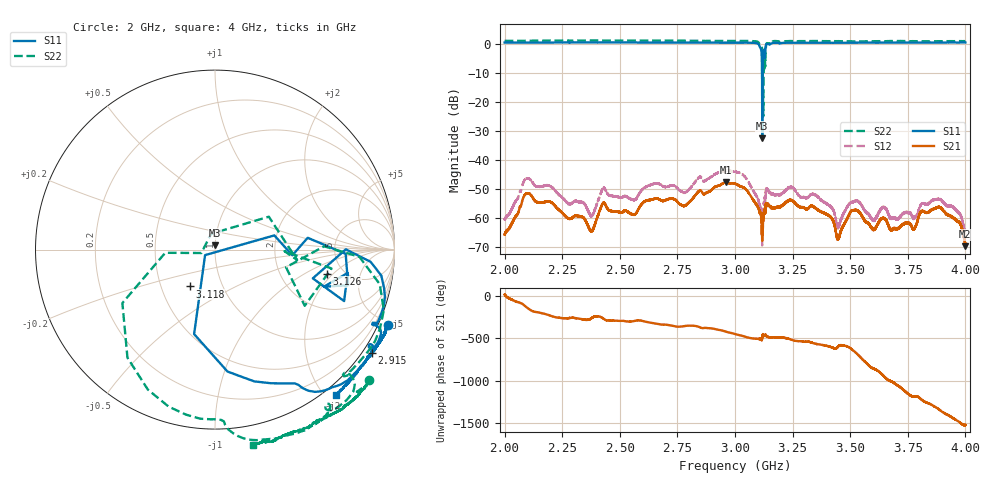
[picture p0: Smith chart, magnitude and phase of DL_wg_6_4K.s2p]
!Agilent Technologies,N5230C,SG49000117,A.08.50.07
!Agilent N5230C: A.08.50.07
!Date: Tuesday, May 07, 2024 00:06:45
!Correction: S11(Full 2 Port(1,2))
!S21(Full 2 Port(1,2))
!S12(Full 2 Port(1,2))
!S22(Full 2 Port(1,2))
!S2P File: Measurements: S11, S21, S12, S22:
# Hz S  MA  R 50
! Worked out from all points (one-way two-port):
!   20001 points, 2 GHz to 4 GHz, reference 50 ohm
!   highest |S21| = -47.73 dB at 2.961 GHz (marker M1); lowest = -69.6 dB at 4 GHz (marker M2)
!   lowest |S11| = -32.5 dB at 3.118 GHz (marker M3), VSWR 1.05, Z = 50.1 + j2.36 ohm
!   |S11| at or under -10 dB: 3.117305 GHz to 3.119182 GHz (1.877 MHz wide, 0.0602 % of centre)
!   |S22| runs from -24.9 to 1.1 dB; largest |S21 - S12| = 0.0035
!   S11 on the Smith chart (normalised r, x): 2 GHz: -0.60, -4.72; 2.915 GHz: -0.28, -3.30; 3.118 GHz: 0.70, -0.31; 3.126 GHz: 3.69, -1.67; 4 GHz: -0.14, -2.12
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2e9  1.052 -23.6  0.0005172 13.9  0.0009188 -5.0  1.125 -40.1
2.0972e9  1.049 -24.4  0.002671 -139.6  0.004875 -157.9  1.127 -41.1
2.3334e9  1.058 -26.4  0.001075 85.3  0.001893 66.0  1.134 -44.9
2.3774e9  1.055 -26.8  0.0006009 94.7  0.001093 75.8  1.138 -45.7
2.4282e9  1.053 -27.2  0.001824 92.1  0.003316 72.7  1.137 -46.3
2.6667e9  1.053 -29.5  0.002145 25.9  0.003922 2.0  1.133 -50.6
2.9151e9  1.048 -33.5  0.003478 -33.6  0.005764 -59.8  1.118 -57.3
2.9605e9  1.047 -34.5  0.004105 -62.7  0.006577 -88.6  1.119 -58.8
3e9  1.045 -35.7  0.003918 -90.7  0.006285 -116.6  1.119 -60.6
3.0964e9  1.017 -48.5  0.001608 -146.1  0.002236 -175.5  1.087 -77.0
3.1175e9  0.2495 -124.6  0.0006893 -150.1  0.0006315 -168.7  0.8172 -123.2
3.1182e9  0.02362 86.6  0.0005223 -114.3  0.0004232 -124.2  0.7554 -131.6
3.1263e9  0.6357 -12.2  0.001205 -108.5  0.001707 -111.8  0.4174 -14.9
3.1429e9  0.9933 -23.0  0.001752 -122.0  0.003133 -138.5  1.019 -37.4
3.1816e9  1.043 -31.0  0.001549 -130.7  0.002537 -154.6  1.112 -52.4
3.3334e9  1.045 -37.1  0.001639 167.1  0.002575 144.9  1.116 -62.2
3.4473e9  1.044 -39.1  0.0004373 120.9  0.0006864 93.5  1.11 -66.0
3.5149e9  1.043 -40.3  0.001357 71.8  0.001922 43.3  1.105 -67.7
3.6667e9  1.048 -44.0  0.0007479 84.8  0.001174 56.8  1.109 -72.3
3.8863e9  1.051 -48.0  0.001541 99.7  0.002143 71.2  1.107 -77.1
3.9997e9  1.054 -50.3  0.0003294 -83.2  0.0004636 -115.2  1.111 -79.1
4e9  1.054 -50.3  0.0003486 -80.1  0.0004845 -111.9  1.112 -79.2
